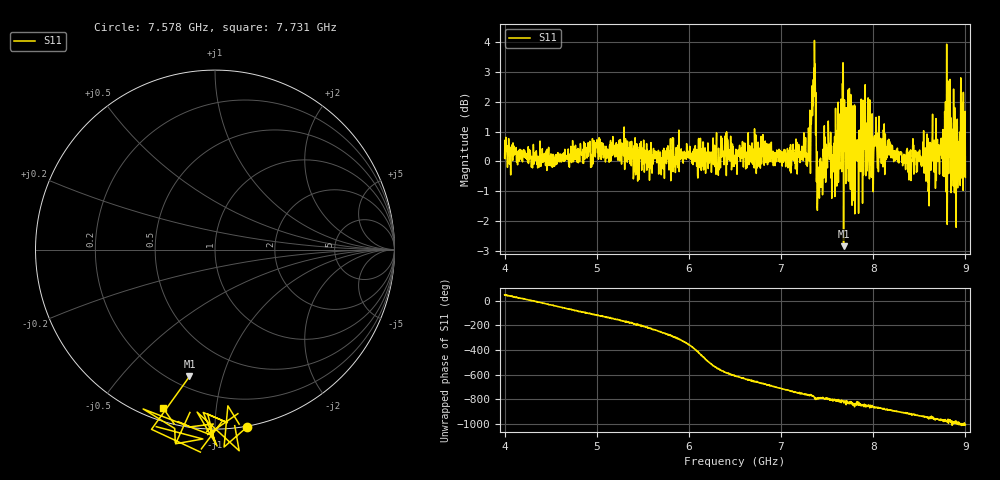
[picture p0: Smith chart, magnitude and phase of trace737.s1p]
! Created with skrf 1.8.0 (http://scikit-rf.org).
# Hz S RI R 50.0
!freq ReS11 ImS11
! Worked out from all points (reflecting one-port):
!   1601 points, 4 GHz to 9 GHz, reference 50 ohm
!   lowest |S11| = -2.8 dB at 7.678 GHz (marker M1), VSWR 6.17, Z = 13.3 - j39.2 ohm
!   phase of S11 starts at 47 deg and turns -1054 deg over the sweep
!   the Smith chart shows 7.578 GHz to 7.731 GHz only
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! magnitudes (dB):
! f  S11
! 4 GHz  0.1
! 4.625 GHz  0.0
! 5.25 GHz  0.2
! 5.875 GHz  0.3
! 6.412 GHz  0.3
! 6.5 GHz  0.0
! 7.125 GHz  0.3
! 7.297 GHz  1.1
! 7.353 GHz  2.2
! 7.409 GHz  -0.8
! 7.516 GHz  0.6
! 7.575 GHz  0.6
! 7.622 GHz  -0.7
! 7.65 GHz  2.1
! 7.678 GHz  -2.8
! 7.75 GHz  -0.7
! 7.775 GHz  1.5
! 7.928 GHz  0.8
! 7.981 GHz  -0.5
! 8.375 GHz  0.2
! 8.562 GHz  -0.2
! 8.584 GHz  0.9
! 8.656 GHz  0.7
! 8.766 GHz  0.4
! 8.822 GHz  1.6
! 8.919 GHz  -0.6
! 8.972 GHz  0.4
! 9 GHz  -0.5
